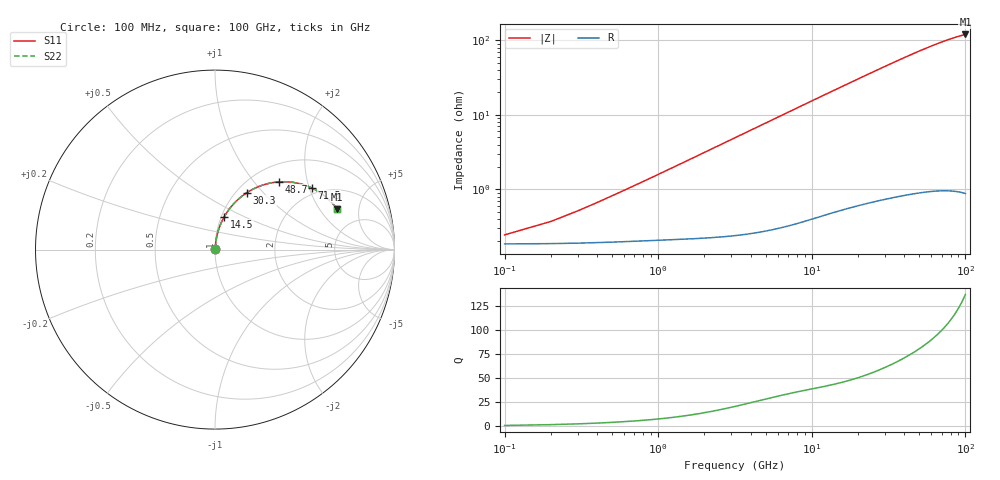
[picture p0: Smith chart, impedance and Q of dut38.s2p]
! Touchstone file exported from HFSS 2026.1.0
!  File:  C:/ffzhzh/LocalFiles/Ansys_Project_Files/temp_train_RDL_38_1783498116_44152.aedt
!  Generated:  04:09:40 PM Jul  8, 2026
!  Design:  RDL
!  Project:  temp_train_RDL_38_1783498116_44152
! Variables:
!  h_bsmrdl = 2um
!  h_ox = 20um
!  h_rdl = 5um
!  h_sub = 80um
!  h_tmrdl = 3.35um
!  h_tsv = 80um
!  h_via = 3um
!  l_bsmrdl = 300um
!  l_sub = 583.59um
!  l_tmrdl = 183.59um
!  m_sub = 200um
!  pitch = 55.41um
!  r_tsv = 6um
!  s_tmrdl = 10um
!  w_bsmrdl = 18um
!  w_sub = 500um
!  w_tmrdl = 11.43um
!  x_tsv_center1 = 189.305um
!  x_tsv_center2 = 507.305um
!  x_tsv_center3 = 702.325um
!  x_tsv_center4 = 1020.325um
!  x_tsv_center5 = 1215.345um
!  x_tsv_center6 = 1533.345um
# GHz S MA R 50.000000
! Terminal data exported
! Port[1] = TM_RDL1_1_T1
! Port[2] = TM_RDL1_1_T2
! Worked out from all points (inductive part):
!   1000 points, 100 MHz to 100 GHz, reference 50 ohm
!   read as one part in series: L = 250 pH near 600 MHz
!   highest Q = 137 at 100 GHz (marker M1), where L = 191 pH
!   S11 on the Smith chart (normalised r, x): 100 MHz: 1.00, +0.00; 14.5 GHz: 1.03, +0.39; 30.3 GHz: 1.12, +0.82; 48.7 GHz: 1.31, +1.35; 71.5 GHz: 1.79, +2.08; 100 GHz: 3.19, +2.95
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0.1  0.002315 37.1  0.9982 -0.1  0.9982 -0.1  0.002315 37.1
! Gamma 0 0 0 0
! Port Impedance 50 0 50 0
0.3  0.004591 65.4  0.9981 -0.3  0.9981 -0.3  0.004591 65.4
0.7  0.00986 77.6  0.998 -0.7  0.998 -0.7  0.00986 77.6
0.9  0.01253 79.7  0.9979 -0.9  0.9979 -0.9  0.01253 79.7
1.4  0.01924 82.3  0.9977 -1.4  0.9977 -1.4  0.01924 82.3
1.8  0.02463 83.1  0.9975 -1.8  0.9975 -1.8  0.02463 83.1
2.3  0.03137 83.6  0.9973 -2.3  0.9973 -2.3  0.03137 83.6
3.6  0.04885 83.5  0.9964 -3.6  0.9964 -3.6  0.04885 83.5
5.4  0.07289 82.4  0.9945 -5.4  0.9945 -5.4  0.07289 82.4
7.8  0.1045 80.4  0.9912 -7.7  0.9912 -7.7  0.1045 80.4
10.8  0.1431 77.7  0.9856 -10.7  0.9856 -10.7  0.1431 77.7
14.5  0.1893 74.3  0.977 -14.2  0.977 -14.2  0.1893 74.3
16.8  0.2172 72.3  0.9708 -16.3  0.9708 -16.3  0.2172 72.3
22.9  0.2874 66.9  0.9517 -21.9  0.9517 -21.9  0.2874 66.9
30.3  0.3649 60.7  0.9242 -28.3  0.9242 -28.3  0.3649 60.7
33.4  0.3946 58.1  0.9118 -30.8  0.9118 -30.8  0.3946 58.1
48.7  0.5181 46.7  0.8477 -42.4  0.8477 -42.4  0.518 46.7
50.1  0.5275 45.8  0.8419 -43.4  0.8419 -43.4  0.5275 45.8
66.7  0.6188 35.3  0.7779 -54.0  0.7779 -54.0  0.6188 35.3
71.5  0.639 32.5  0.7616 -56.8  0.7616 -56.8  0.639 32.6
83.4  0.6793 26.2  0.7263 -63.2  0.7263 -63.2  0.6793 26.2
100  0.7167 18.2  0.69 -71.2  0.69 -71.2  0.7166 18.3
